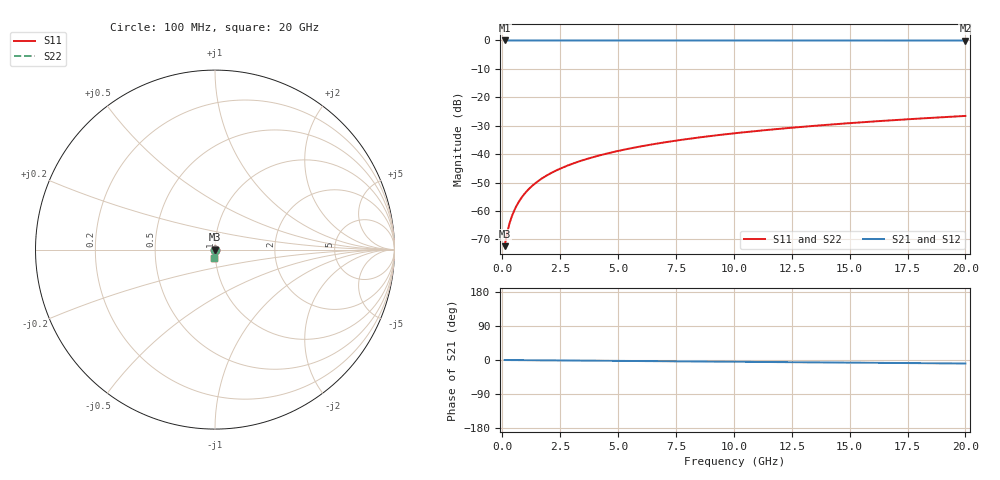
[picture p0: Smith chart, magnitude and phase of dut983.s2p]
! Touchstone file exported from HFSS 2026.1.0
!  File:  C:/ffzhzh/LocalFiles/Ansys_Project_Files/temp_train_TSV_983_1783188008_51560.aedt
!  Generated:  02:01:32 AM Jul  5, 2026
!  Design:  TSV
!  Project:  temp_train_TSV_983_1783188008_51560
! Variables:
!  h_bsmrdl = 2um
!  h_ox = 20um
!  h_rdl = 5um
!  h_sub = 95.01um
!  h_tmrdl = 5um
!  h_tsv = 95.01um
!  h_via = 3um
!  l_bsmrdl = 300um
!  l_sub = 419.28um
!  l_tmrdl = 200um
!  m_sub = 200um
!  pitch = 29.8um
!  r_tsv = 9.64um
!  s_tmrdl = 10um
!  w_bsmrdl = 18um
!  w_sub = 500um
!  w_tmrdl = 12um
!  x_tsv_center1 = 206um
!  x_tsv_center2 = 524um
!  x_tsv_center3 = 736um
!  x_tsv_center4 = 1054um
!  x_tsv_center5 = 1266um
!  x_tsv_center6 = 1584um
# GHz S MA R 50.000000
! Terminal data exported
! Port[1] = TSV1_1_T1
! Port[2] = TSV1_1_T2
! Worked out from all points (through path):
!   200 points, 100 MHz to 20 GHz, reference 50 ohm
!   highest |S21| = 0.00 dB at 100 MHz (marker M1); lowest = 0.0 dB at 20 GHz (marker M2)
!   group delay of S21, straight-line fit = 1.28 ps
!   lowest |S11| = -72.4 dB at 100 MHz (marker M3), VSWR 1.00, Z = 50 - j0.0176 ohm
!   |S11| at or under -10 dB: start of sweep to end of sweep
!   |S22| runs from -72.4 to -26.6 dB; largest |S21 - S12| = 4.1e-15
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0.1  0.0002409 -47.0  0.9998 -0.0  0.9998 -0.0  0.0002409 -47.0
! Gamma 0 0 0 0
! Port Impedance 50 0 50 0
0.2  0.0004008 -63.0  0.9998 -0.1  0.9998 -0.1  0.0004008 -63.0
0.3  0.0005841 -69.1  0.9998 -0.1  0.9998 -0.1  0.0005841 -69.1
0.4  0.0007811 -72.2  0.9998 -0.2  0.9998 -0.2  0.0007811 -72.2
0.5  0.0009883 -74.1  0.9997 -0.2  0.9997 -0.2  0.0009883 -74.1
0.6  0.001203 -75.5  0.9997 -0.3  0.9997 -0.3  0.001203 -75.5
0.8  0.001648 -77.6  0.9996 -0.4  0.9996 -0.4  0.001648 -77.6
1.1  0.002332 -79.8  0.9996 -0.5  0.9996 -0.5  0.002332 -79.8
1.3  0.002793 -81.0  0.9995 -0.6  0.9995 -0.6  0.002793 -81.0
1.5  0.003254 -81.9  0.9995 -0.7  0.9995 -0.7  0.003254 -81.9
1.8  0.003947 -83.1  0.9995 -0.9  0.9995 -0.9  0.003947 -83.1
2.1  0.004639 -84.0  0.9994 -1.0  0.9994 -1.0  0.004639 -84.0
2.7  0.006026 -85.3  0.9994 -1.3  0.9994 -1.3  0.006026 -85.3
3.5  0.007883 -86.5  0.9993 -1.6  0.9993 -1.6  0.007883 -86.5
4.2  0.009516 -87.3  0.9992 -2.0  0.9992 -2.0  0.009516 -87.3
5  0.01139 -88.0  0.9991 -2.3  0.9991 -2.3  0.01139 -88.0
6.8  0.01564 -89.5  0.9989 -3.2  0.9989 -3.2  0.01564 -89.5
8.3  0.0192 -90.5  0.9987 -3.9  0.9987 -3.9  0.0192 -90.5
10.1  0.02348 -91.7  0.9985 -4.7  0.9985 -4.7  0.02348 -91.7
13.4  0.03133 -93.6  0.9981 -6.2  0.9981 -6.2  0.03133 -93.6
16.7  0.03918 -95.4  0.9977 -7.7  0.9977 -7.7  0.03918 -95.4
20  0.04702 -97.1  0.9971 -9.2  0.9971 -9.2  0.04702 -97.1
